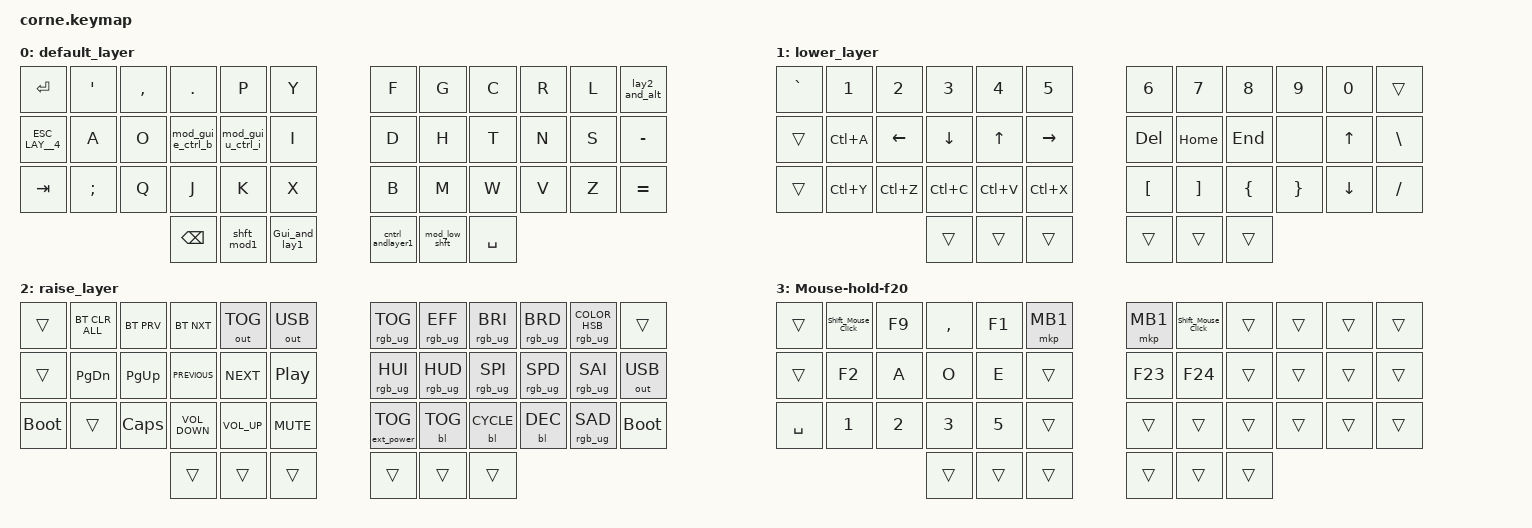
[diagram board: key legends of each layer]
#include <behaviors.dtsi>
#include <dt-bindings/zmk/backlight.h>
#include <dt-bindings/zmk/bt.h>
#include <dt-bindings/zmk/ext_power.h>
#include <dt-bindings/zmk/keys.h>
#include <dt-bindings/zmk/mouse.h>
#include <dt-bindings/zmk/outputs.h>
#include <dt-bindings/zmk/rgb.h>

&led_strip { chain-length = <27>; };

/ {
    behaviors {
        Gui_and_lay1: Gui_and_lay1 {
            compatible = "zmk,behavior-tap-dance";
            label = "GUI_AND_LAY1";
            #binding-cells = <0>;
            bindings = <&mac_gui_layer1>, <&kp LEFT_COMMAND>, <&mac_gui_shft_1>;

            tapping-term-ms = <250>;
        };

        shft_mod1: shft_mod1 {
            compatible = "zmk,behavior-tap-dance";
            label = "SHFT_MOD1";
            #binding-cells = <0>;
            bindings = <&kp LEFT_SHIFT>, <&mo 1>, <&mac_shift_layer1>;

            tapping-term-ms = <275>;
        };

        cntrl_andlayer1: cntrl_andlayer1 {
            compatible = "zmk,behavior-tap-dance";
            label = "CNTRL_ANDLAYER1";
            #binding-cells = <0>;
            bindings =
                <&kp LEFT_CONTROL>,
                <&mac_cntrl_layer1>,
                <&mac_cntrl_shft_layer1>;

            tapping-term-ms = <275>;
        };

        mod_low_shft: mod_low_shft {
            compatible = "zmk,behavior-tap-dance";
            label = "MOD_LOW_SHFT";
            #binding-cells = <0>;
            bindings = <&mo 1>, <&kp LEFT_SHIFT>, <&mo 3>;

            tapping-term-ms = <230>;
        };

        oldmodgui: oldmodgui {
            compatible = "zmk,behavior-tap-dance";
            label = "OLDMODGUI";
            #binding-cells = <0>;
            bindings = <&kp LEFT_COMMAND>, <&mac_gui_layer1>, <&mac_gui_shft_1>;

            tapping-term-ms = <225>;
        };

        mod_gui_e_ctrl_b: mod_gui_e_ctrl_b {
            compatible = "zmk,behavior-mod-morph";
            label = "MOD_GUI_E_CTRL_B";
            bindings = <&kp E>, <&kp LC(B)>;

            #binding-cells = <0>;
            mods = <(MOD_LGUI)>;
        };

        mod_gui_u_ctrl_i: mod_gui_u_ctrl_i {
            compatible = "zmk,behavior-mod-morph";
            label = "MOD_GUI_U_CTRL_I";
            bindings = <&kp U>, <&kp LC(I)>;

            #binding-cells = <0>;
            mods = <(MOD_LGUI)>;
        };

        lay2_and_alt: lay2_and_alt {
            compatible = "zmk,behavior-tap-dance";
            label = "LAY2_AND_ALT";
            #binding-cells = <0>;
            bindings = <&mo 2>, <&kp LEFT_ALT>, <&mac_Alt_lay1>;

            tapping-term-ms = <250>;
        };

        bkspce_layer2: bkspce_layer2 {
            compatible = "zmk,behavior-tap-dance";
            label = "BKSPCE_LAYER2";
            #binding-cells = <0>;
            bindings = <&kp BACKSPACE>, <&kp BACKSPACE>, <&mo 2>;
        };

        ESC_LAY__4: ESC_LAY__4 {
            compatible = "zmk,behavior-tap-dance";
            label = "ESC_LAY__4";
            #binding-cells = <0>;
            bindings = <&kp ESCAPE>, <&kp ESCAPE>, <&mo 3>;

            tapping-term-ms = <230>;
        };
    };

    macros {
        /**
         * Temporarily switches to a layer (`&mo`) while a modifier is held.
         * Analogous to QMK's `LM()`, using a parameterized macro.
         *
         * Params:
         *  1. Layer to switch to
         *  2. Modifier to press while layer is active
         *
         * Example:
         *  `&lm NUM_LAYER LSHIFT`
         */

        mac_gui_layer1: mac_gui_layer1 {
            compatible = "zmk,behavior-macro";
            #binding-cells = <0>;
            bindings =
                <&macro_press>,
                <&mo 1>,
                <&macro_press>,
                <&kp LEFT_GUI>,
                <&macro_pause_for_release>,
                <&macro_release>,
                <&kp LEFT_GUI>,
                <&macro_release>,
                <&mo 1>;

            label = "MAC_GUI_LAYER1";
        };

        mac_cntrl_layer1: mac_cntrl_layer1 {
            compatible = "zmk,behavior-macro";
            #binding-cells = <0>;
            bindings =
                <&macro_press>,
                <&mo 1>,
                <&macro_press>,
                <&kp LEFT_CONTROL>,
                <&macro_pause_for_release>,
                <&macro_release>,
                <&kp LEFT_CONTROL>,
                <&macro_release>,
                <&mo 1>;

            label = "MAC_CNTRL_LAYER1";
        };

        mac_gui_shft_1: mac_gui_shft_1 {
            compatible = "zmk,behavior-macro";
            #binding-cells = <0>;
            bindings =
                <&macro_press>,
                <&mo 1>,
                <&macro_press>,
                <&kp LS(LEFT_GUI)>,
                <&macro_pause_for_release>,
                <&macro_release>,
                <&kp LS(LEFT_GUI)>,
                <&macro_release>,
                <&mo 1>;

            label = "MAC_GUI_SHFT_1";
        };

        mac_cntrl_shft_layer1: mac_cntrl_shft_layer1 {
            compatible = "zmk,behavior-macro";
            #binding-cells = <0>;
            bindings =
                <&macro_press>,
                <&mo 1>,
                <&macro_press>,
                <&kp LS(LEFT_CONTROL)>,
                <&macro_pause_for_release>,
                <&macro_release>,
                <&kp LS(LEFT_CONTROL)>,
                <&macro_release>,
                <&mo 1>;

            label = "MAC_CNTRL_SHFT_LAYER1";
        };

        mac_shift_layer1: mac_shift_layer1 {
            compatible = "zmk,behavior-macro";
            #binding-cells = <0>;
            bindings =
                <&macro_press>,
                <&mo 1>,
                <&macro_press>,
                <&kp LEFT_SHIFT>,
                <&macro_pause_for_release>,
                <&macro_release>,
                <&kp LEFT_SHIFT>,
                <&macro_release>,
                <&mo 1>;

            label = "MAC_SHIFT_LAYER1";
        };

        mac_Alt_lay1: mac_Alt_lay1 {
            compatible = "zmk,behavior-macro";
            #binding-cells = <0>;
            bindings =
                <&macro_press>,
                <&mo 1>,
                <&macro_press>,
                <&kp LEFT_ALT>,
                <&macro_pause_for_release>,
                <&macro_release>,
                <&kp LEFT_ALT>,
                <&macro_release>,
                <&mo 1>;

            label = "MAC_ALT_LAY1";
        };

        Shift_Mouse_Click: Shift_Mouse_Click {
            compatible = "zmk,behavior-macro";
            #binding-cells = <0>;
            bindings =
                <&macro_press>,
                <&kp LEFT_SHIFT>,
                <&macro_press>,
                <&mkp MB1>,
                <&macro_pause_for_release>,
                <&macro_release>,
                <&mkp MB1>,
                <&macro_release>,
                <&kp LEFT_SHIFT>;

            label = "SHIFT_MOUSE_CLICK";
        };
    };

    keymap {
        compatible = "zmk,keymap";

        default_layer {
            // -----------------------------------------------------------------------------------------
            // |  TAB |  Q  |  W  |  E  |  R  |  T  |   |  Y  |  U   |  I  |  O  |  P  | BKSP |
            // | CTRL |  A  |  S  |  D  |  F  |  G  |   |  H  |  J   |  K  |  L  |  ;  |  '   |
            // | SHFT |  Z  |  X  |  C  |  V  |  B  |   |  N  |  M   |  ,  |  .  |  /  | ESC  |
            //                    | GUI | LWR | SPC |   | ENT | RSE  | ALT |

            bindings = <
&kp ENTER    &kp SQT        &kp COMMA  &kp PERIOD         &kp P              &kp Y            &kp F             &kp G          &kp C      &kp R  &kp L  &lay2_and_alt
&ESC_LAY__4  &kp A          &kp O      &mod_gui_e_ctrl_b  &mod_gui_u_ctrl_i  &kp I            &kp D             &kp H          &kp T      &kp N  &kp S  &kp MINUS
&kp TAB      &kp SEMICOLON  &kp Q      &kp J              &kp K              &kp X            &kp B             &kp M          &kp W      &kp V  &kp Z  &kp EQUAL
                                       &kp BACKSPACE      &shft_mod1         &Gui_and_lay1    &cntrl_andlayer1  &mod_low_shft  &kp SPACE
            >;
        };

        lower_layer {
            // -----------------------------------------------------------------------------------------
            // |  TAB |  1  |  2  |  3  |  4  |  5  |   |  6  |  7  |  8  |  9  |  0  | BKSP |
            // | BTCLR| BT1 | BT2 | BT3 | BT4 | BT5 |   | LFT | DWN |  UP | RGT |     |      |
            // | SHFT |     |     |     |     |     |   |     |     |     |     |     |      |
            //                    | GUI |     | SPC |   | ENT |     | ALT |

            bindings = <
&kp GRAVE  &kp NUMBER_1  &kp NUMBER_2    &kp NUMBER_3    &kp NUMBER_4  &kp NUMBER_5       &kp NUMBER_6      &kp NUMBER_7       &kp NUMBER_8    &kp NUMBER_9     &kp NUMBER_0    &trans
&trans     &kp LC(A)     &kp LEFT_ARROW  &kp DOWN_ARROW  &kp UP_ARROW  &kp RIGHT_ARROW    &kp DELETE        &kp HOME           &kp END         &none            &kp UP_ARROW    &kp BACKSLASH
&trans     &kp LC(Y)     &kp LC(Z)       &kp LC(C)       &kp LC(V)     &kp LC(X)          &kp LEFT_BRACKET  &kp RIGHT_BRACKET  &kp LEFT_BRACE  &kp RIGHT_BRACE  &kp DOWN_ARROW  &kp SLASH
                                         &trans          &trans        &trans             &trans            &trans             &trans
            >;
        };

        raise_layer {
            // -----------------------------------------------------------------------------------------
            // |  TAB |  !  |  @  |  #  |  $  |  %  |   |  ^  |  &  |  *  |  (  |  )  | BKSP |
            // | CTRL |     |     |     |     |     |   |  -  |  =  |  [  |  ]  |  \  |  `   |
            // | SHFT |     |     |     |     |     |   |  _  |  +  |  {  |  }  | "|" |  ~   |
            //                    | GUI |     | SPC |   | ENT |     | ALT |

            bindings = <
&trans       &bt BT_CLR_ALL  &bt BT_PRV   &bt BT_NXT         &out OUT_TOG     &out OUT_USB        &rgb_ug RGB_TOG    &rgb_ug RGB_EFF  &rgb_ug RGB_BRI  &rgb_ug RGB_BRD  &rgb_ug RGB_COLOR_HSB(202,100,50)  &trans
&trans       &kp PAGE_DOWN   &kp PAGE_UP  &kp K_PREVIOUS     &kp K_NEXT       &kp C_PLAY_PAUSE    &rgb_ug RGB_HUI    &rgb_ug RGB_HUD  &rgb_ug RGB_SPI  &rgb_ug RGB_SPD  &rgb_ug RGB_SAI                    &out OUT_USB
&bootloader  &trans          &kp CAPS     &kp C_VOLUME_DOWN  &kp C_VOLUME_UP  &kp K_MUTE          &ext_power EP_TOG  &bl BL_TOG       &bl BL_CYCLE     &bl BL_DEC       &rgb_ug RGB_SAD                    &bootloader
                                          &trans             &trans           &trans              &trans             &trans           &trans
            >;
        };

        Mouse-hold-f20 {
            bindings = <
&trans     &Shift_Mouse_Click  &kp F9        &kp COMMA     &kp F1  &mkp MB1    &mkp MB1  &Shift_Mouse_Click  &trans  &trans  &trans  &trans
&trans     &kp F2              &kp A         &kp O         &kp E   &trans      &kp F23   &kp F24             &trans  &trans  &trans  &trans
&kp SPACE  &kp NUMBER_1        &kp NUMBER_2  &kp NUMBER_3  &kp N5  &trans      &trans    &trans              &trans  &trans  &trans  &trans
                                             &trans        &trans  &trans      &trans    &trans              &trans
            >;
        };
    };
};
